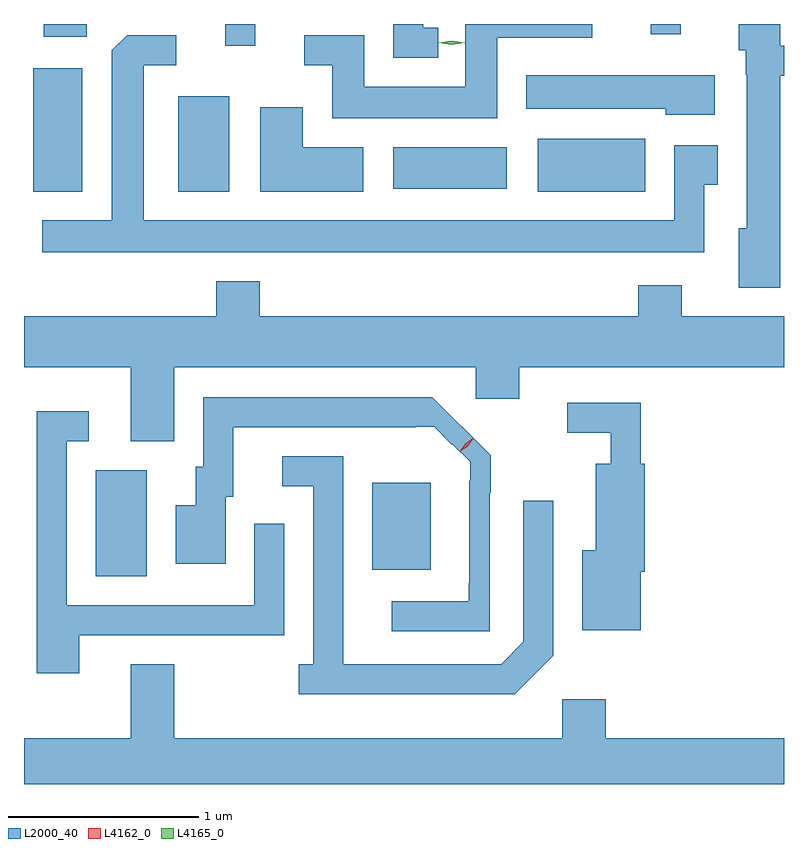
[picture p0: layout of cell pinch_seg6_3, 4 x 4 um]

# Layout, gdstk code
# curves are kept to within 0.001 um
import gdstk
lib = gdstk.Library(unit=1e-6, precision=1e-09)
def R(c, l, rs):  # rectangles x0, y0, x1, y1
    for r in rs: c.add(gdstk.rectangle(r[:2], r[2:], *l))
def P(c, l, *ps):  # polygons
    for p in ps: c.add(gdstk.Polygon(p, *l))
L2000_40 = (2000, 40)
L4162_0 = (4162, 0)
L4165_0 = (4165, 0)

pinch_seg6_3 = lib.new_cell('pinch_seg6_3')
R(pinch_seg6_3, L2000_40, [(824.246,1662.156,824.514,1662.714), (825.701,1662.191,826.009,1662.649), (823.916,1664.181,824.174,1664.829), (824.681,1664.181,824.949,1664.684), (826.571,1664.181,827.139,1664.459), (825.811,1664.196,826.409,1664.414), (824.926,1664.948,825.084,1665.063), (823.971,1664.996,824.199,1665.063), (827.166,1665.008,827.324,1665.063)])
P(pinch_seg6_3, L2000_40, [(827.849,1664.791),(827.868,1664.791),(827.868,1664.949),(827.849,1664.949),(827.849,1665.063),(827.631,1665.063),(827.631,1664.926),(827.666,1664.926),(827.666,1664.795),(827.671,1664.795),(827.671,1663.989),(827.631,1663.989),(827.631,1663.676),(827.849,1663.676)],
  [(826.359,1664.991),(826.859,1664.991),(826.859,1665.063),(826.191,1665.063),(826.191,1664.734),(825.659,1664.734),(825.659,1665.004),(825.343,1665.004),(825.343,1664.846),(825.491,1664.846),(825.491,1664.566),(826.359,1664.566)],
  [(826.048,1665.044),(825.969,1665.044),(825.969,1665.063),(825.811,1665.063),(825.811,1664.886),(826.048,1664.886)],
  [(827.449,1664.216),(827.519,1664.216),(827.519,1664.424),(827.291,1664.424),(827.291,1664.029),(824.499,1664.029),(824.499,1664.846),(824.668,1664.846),(824.668,1665.004),(824.412,1665.004),(824.331,1664.924),(824.331,1664.029),(823.963,1664.029),(823.963,1663.861),(827.449,1663.861)],
  [(827.504,1664.794),(826.511,1664.794),(826.511,1664.616),(827.246,1664.616),(827.246,1664.586),(827.504,1664.586)],
  [(825.654,1664.414),(825.334,1664.414),(825.334,1664.624),(825.111,1664.624),(825.111,1664.181),(825.654,1664.181)],
  [(824.659,1663.256),(826.246,1663.256),(826.246,1663.091),(826.474,1663.091),(826.474,1663.256),(827.868,1663.256),(827.868,1663.524),(827.329,1663.524),(827.329,1663.689),(827.101,1663.689),(827.101,1663.524),(825.109,1663.524),(825.109,1663.709),(824.881,1663.709),(824.881,1663.524),(823.868,1663.524),(823.868,1663.256),(824.431,1663.256),(824.431,1662.866),(824.659,1662.866)],
  [(826.319,1662.595),(826.324,1662.595),(826.324,1662.792),(826.017,1663.099),(824.811,1663.099),(824.811,1662.734),(824.771,1662.734),(824.771,1662.529),(824.666,1662.529),(824.666,1662.221),(824.929,1662.221),(824.929,1662.576),(824.969,1662.576),(824.969,1662.941),(826.028,1662.942),(826.12,1662.849),(826.123,1662.852),(826.216,1662.759),(826.216,1662.659),(826.212,1662.659),(826.212,1662.12),(826.21,1662.12),(826.21,1662.024),(825.803,1662.024),(825.803,1661.866),(826.319,1661.866)],
  [(827.114,1662.181),(827.134,1662.181),(827.134,1662.749),(827.114,1662.749),(827.114,1663.069),(826.728,1663.069),(826.728,1662.911),(826.956,1662.911),(826.956,1662.749),(826.876,1662.749),(826.876,1662.294),(826.806,1662.294),(826.806,1661.871),(827.114,1661.871)],
  [(824.159,1661.846),(825.239,1661.846),(825.239,1662.433),(825.081,1662.433),(825.081,1662.004),(824.094,1662.004),(824.094,1662.866),(824.208,1662.866),(824.208,1663.024),(823.936,1663.024),(823.936,1661.646),(824.159,1661.646)],
  [(826.654,1661.739),(826.654,1662.553),(826.496,1662.553),(826.496,1661.812),(826.379,1661.694),(825.549,1661.694),(825.549,1662.789),(825.228,1662.789),(825.228,1662.631),(825.391,1662.631),(825.391,1661.694),(825.313,1661.694),(825.313,1661.536),(826.452,1661.536)],
  [(827.868,1661.304),(826.929,1661.304),(826.929,1661.509),(826.701,1661.509),(826.701,1661.304),(824.659,1661.304),(824.659,1661.694),(824.431,1661.694),(824.431,1661.304),(823.868,1661.304),(823.868,1661.063),(827.868,1661.063)])
P(pinch_seg6_3, L4162_0, [(826.166,1662.816),(826.166,1662.817),(826.19,1662.855),(826.228,1662.879),(826.229,1662.879),(826.229,1662.878),(826.204,1662.84),(826.167,1662.816)],
  [(826.162,1662.813),(826.162,1662.813),(826.19,1662.855),(826.231,1662.884),(826.231,1662.884),(826.231,1662.883),(826.204,1662.841),(826.162,1662.813)])
P(pinch_seg6_3, L4165_0, [(826.118,1664.955),(826.049,1664.964),(826.049,1664.965),(826.049,1664.965),(826.118,1664.975),(826.188,1664.965),(826.188,1664.964),(826.188,1664.964)])

lib.write_gds('pinch_seg6_3.gds')
